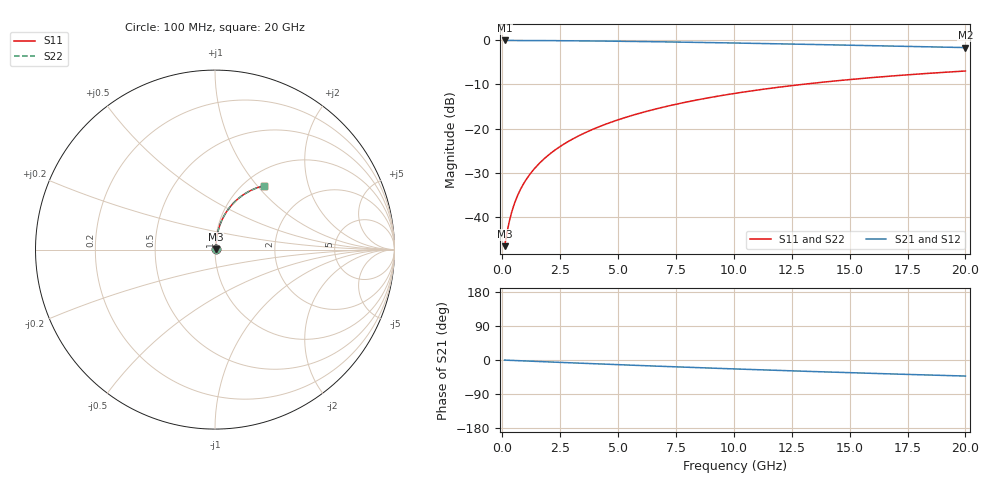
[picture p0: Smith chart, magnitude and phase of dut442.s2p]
! Touchstone file exported from HFSS 2024.1.0
!  File:  C:/UserFiles/LocalFiles/RDL_TSV_Batchsim/temp_RDL_top_442_1779676790.aedt
!  Generated:  10:42:20 AM May 25, 2026
!  Design:  RDL_top
!  Project:  temp_RDL_top_442_1779676790
!  Setup:  Setup1
!  Solution:  Sweep
! Variables:
!  dtsv = 10.80580581um
!  hbump = 3um
!  htsv = 98.52um
!  ldown = 100um
!  lrdl = 527.08um
!  p = 40
!  p1 = 58.19um
!  rhole = 1um
!  t = 450um
!  tdown = 3.915915916um
!  trdl = 2.91um
!  wdown = 15.38538539um
!  wrdl = 17.54um
# GHz S MA R 50.000000
! Terminal data exported
! Port[1] = Box2_T1
! Port[2] = Box2_T2
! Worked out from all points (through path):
!   200 points, 100 MHz to 20 GHz, reference 50 ohm
!   highest |S21| = -0.03 dB at 100 MHz (marker M1); lowest = -1.6 dB at 20 GHz (marker M2)
!   group delay of S21, straight-line fit = 5.87 ps
!   lowest |S11| = -46.6 dB at 100 MHz (marker M3), VSWR 1.01, Z = 50.4 + j0.266 ohm
!   |S11| at or under -10 dB: start of sweep to 12.94 GHz
!   |S22| runs from -46.6 to -7.0 dB; largest |S21 - S12| = 3.2e-15
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0.1  0.004654 34.5  0.9962 -0.3  0.9962 -0.3  0.004654 34.5
! Gamma 0 0 0 0
! Port Impedance 50 0 50 0
0.2  0.006556 53.1  0.9961 -0.5  0.9961 -0.5  0.006556 53.1
0.3  0.008811 62.5  0.9959 -0.8  0.9959 -0.8  0.008811 62.5
0.4  0.01117 67.8  0.9957 -1.0  0.9957 -1.0  0.01117 67.8
0.5  0.01357 71.1  0.9956 -1.3  0.9956 -1.3  0.01357 71.1
0.6  0.01598 73.5  0.9954 -1.5  0.9954 -1.5  0.01598 73.5
0.8  0.02081 76.5  0.995 -2.0  0.995 -2.0  0.02081 76.5
1.1  0.02811 79.0  0.9944 -2.8  0.9944 -2.8  0.02811 79.0
1.5  0.03792 80.7  0.9935 -3.8  0.9935 -3.8  0.03792 80.7
1.8  0.04532 81.3  0.9926 -4.5  0.9926 -4.5  0.04532 81.3
2.1  0.05276 81.6  0.9916 -5.3  0.9916 -5.3  0.05276 81.6
2.7  0.06772 81.8  0.9893 -6.8  0.9893 -6.8  0.06772 81.8
3.5  0.08779 81.3  0.9854 -8.7  0.9854 -8.7  0.08779 81.3
4.2  0.1054 80.6  0.9814 -10.4  0.9814 -10.4  0.1054 80.6
5  0.1257 79.6  0.9761 -12.3  0.9761 -12.3  0.1257 79.5
5.9  0.1484 78.2  0.9694 -14.4  0.9694 -14.4  0.1484 78.2
6.8  0.1711 76.7  0.9621 -16.5  0.9621 -16.5  0.1711 76.7
8.4  0.2109 73.8  0.9479 -20.1  0.9479 -20.1  0.2108 73.8
10.1  0.2518 70.6  0.9315 -23.7  0.9315 -23.7  0.2518 70.6
13.4  0.3261 64.3  0.8974 -30.4  0.8974 -30.4  0.3261 64.2
16.7  0.3919 58.2  0.8621 -36.6  0.8621 -36.6  0.3919 58.2
20  0.4489 52.5  0.827 -42.4  0.827 -42.4  0.4488 52.5
